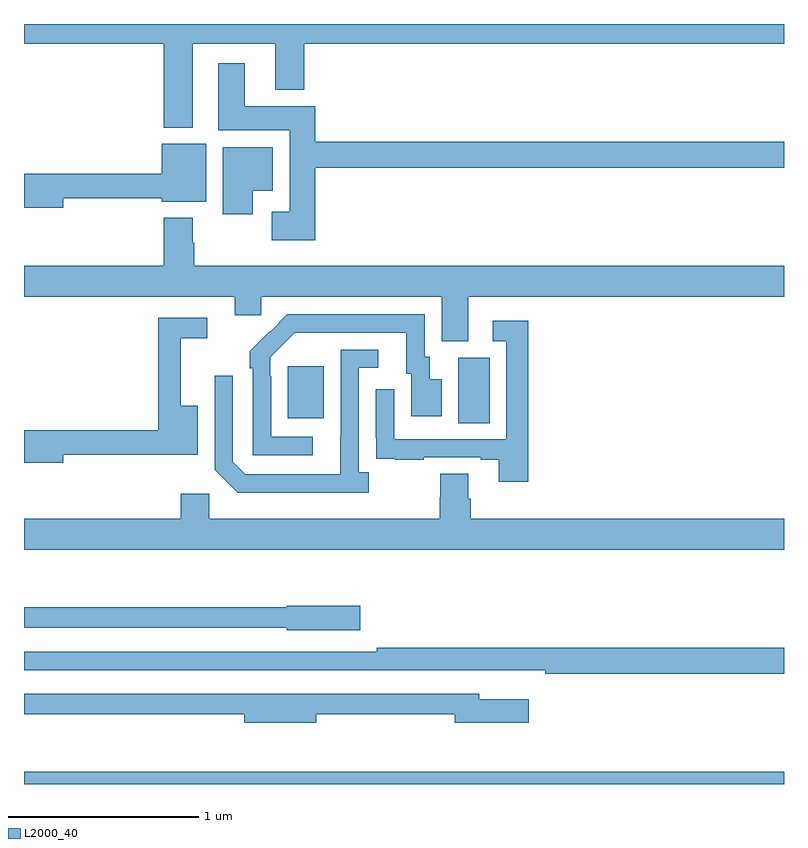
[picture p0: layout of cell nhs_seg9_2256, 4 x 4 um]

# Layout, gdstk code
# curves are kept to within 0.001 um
import gdstk
lib = gdstk.Library(unit=1e-6, precision=1e-09)
def R(c, l, rs):  # rectangles x0, y0, x1, y1
    for r in rs: c.add(gdstk.rectangle(r[:2], r[2:], *l))
def P(c, l, *ps):  # polygons
    for p in ps: c.add(gdstk.Polygon(p, *l))
L2000_40 = (2000, 40)

nhs_seg9_2256 = lib.new_cell('nhs_seg9_2256')
R(nhs_seg9_2256, L2000_40, [(239,1216.5,243,1216.564), (241.286,1218.4,241.45,1218.744), (240.389,1218.425,240.577,1218.7)])
P(nhs_seg9_2256, L2000_40, [(239,1220.396),(239.735,1220.396),(239.735,1219.955),(239.887,1219.955),(239.887,1220.396),(240.323,1220.396),(240.323,1220.153),(240.476,1220.153),(240.476,1220.396),(243,1220.396),(243,1220.5),(239,1220.5)],
  [(240.533,1219.744),(243,1219.744),(243,1219.88),(240.533,1219.88),(240.533,1220.068),(240.163,1220.068),(240.163,1220.293),(240.023,1220.293),(240.023,1219.94),(240.398,1219.94),(240.398,1219.513),(240.303,1219.513),(240.303,1219.361),(240.533,1219.361)],
  [(239.206,1219.584),(239.726,1219.584),(239.726,1219.565),(239.959,1219.565),(239.959,1219.87),(239.726,1219.87),(239.726,1219.712),(239,1219.712),(239,1219.534),(239.206,1219.534)],
  [(240.205,1219.622),(240.31,1219.622),(240.31,1219.852),(240.047,1219.852),(240.047,1219.5),(240.205,1219.5)],
  [(241.339,1219.064),(243,1219.064),(243,1219.228),(239.895,1219.228),(239.895,1219.349),(239.887,1219.349),(239.887,1219.48),(239.735,1219.48),(239.735,1219.228),(239,1219.228),(239,1219.064),(240.11,1219.064),(240.11,1218.966),(240.249,1218.966),(240.249,1219.064),(241.199,1219.064),(241.199,1218.829),(241.339,1218.829)],
  [(240.52,1218.327),(240.3,1218.327),(240.3,1218.647),(240.297,1218.647),(240.297,1218.747),(240.426,1218.876),(241.013,1218.876),(241.013,1218.66),(241.037,1218.66),(241.037,1218.435),(241.198,1218.435),(241.198,1218.631),(241.135,1218.631),(241.135,1218.75),(241.11,1218.75),(241.11,1218.972),(240.386,1218.972),(240.189,1218.777),(240.189,1218.689),(240.204,1218.689),(240.204,1218.231),(240.52,1218.231)],
  [(239.206,1218.234),(239.914,1218.234),(239.914,1218.49),(239.825,1218.49),(239.825,1218.846),(239.965,1218.846),(239.965,1218.954),(239.707,1218.954),(239.707,1218.362),(239,1218.362),(239,1218.191),(239.206,1218.191)],
  [(241.655,1218.937),(241.467,1218.937),(241.467,1218.831),(241.539,1218.831),(241.539,1218.315),(240.948,1218.315),(240.948,1218.577),(240.852,1218.577),(240.852,1218.322),(240.853,1218.322),(240.853,1218.213),(240.955,1218.213),(240.955,1218.207),(241.103,1218.207),(241.103,1218.219),(241.403,1218.219),(241.403,1218.207),(241.499,1218.207),(241.499,1218.09),(241.655,1218.09)],
  [(240.814,1218.142),(240.762,1218.142),(240.762,1218.69),(240.865,1218.69),(240.865,1218.786),(240.666,1218.786),(240.665,1218.129),(240.165,1218.129),(240.099,1218.195),(240.099,1218.649),(240.003,1218.649),(240.003,1218.153),(240.124,1218.032),(240.814,1218.032)],
  [(243,1217.896),(241.352,1217.896),(241.352,1218.002),(241.339,1218.002),(241.339,1218.134),(241.192,1218.134),(241.192,1218.009),(241.187,1218.009),(241.187,1217.896),(239.976,1217.896),(239.976,1218.028),(239.825,1218.028),(239.825,1217.896),(239,1217.896),(239,1217.732),(243,1217.732)],
  [(240.769,1217.439),(240.384,1217.439),(240.384,1217.431),(239,1217.431),(239,1217.322),(240.384,1217.322),(240.384,1217.309),(240.769,1217.309)],
  [(243,1217.216),(240.856,1217.216),(240.856,1217.196),(239,1217.196),(239,1217.1),(241.492,1217.1),(241.492,1217.099),(241.744,1217.099),(241.744,1217.08),(243,1217.08)],
  [(240.538,1216.866),(241.268,1216.866),(241.268,1216.823),(241.657,1216.823),(241.657,1216.945),(241.396,1216.945),(241.396,1216.974),(239,1216.974),(239,1216.866),(240.158,1216.866),(240.158,1216.823),(240.538,1216.823)])

lib.write_gds('nhs_seg9_2256.gds')
